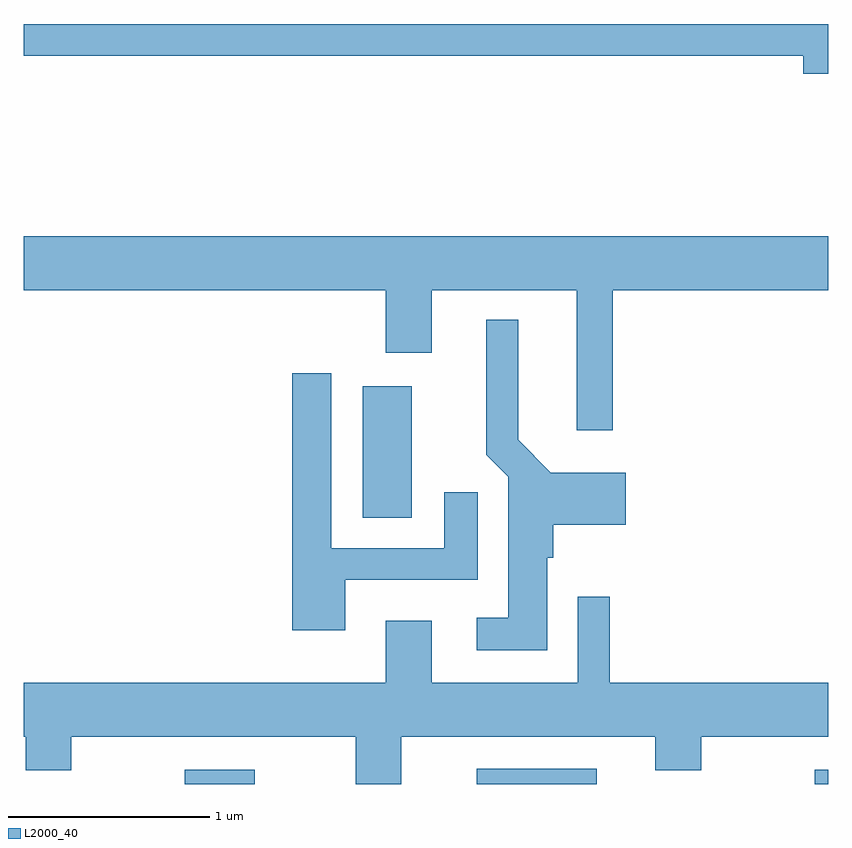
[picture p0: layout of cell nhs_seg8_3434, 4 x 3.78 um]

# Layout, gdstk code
import gdstk
lib = gdstk.Library(unit=1e-6, precision=1e-09)
def R(c, l, rs):  # rectangles x0, y0, x1, y1
    for r in rs: c.add(gdstk.rectangle(r[:2], r[2:], *l))
def P(c, l, *ps):  # polygons
    for p in ps: c.add(gdstk.Polygon(p, *l))
L2000_40 = (2000, 40)

nhs_seg8_3434 = lib.new_cell('nhs_seg8_3434')
R(nhs_seg8_3434, L2000_40, [(288.413,1898.342,288.759,1898.414), (289.863,1898.342,290.459,1898.419), (291.543,1898.342,291.611,1898.414), (289.296,1899.666,289.539,1900.319)])
P(nhs_seg8_3434, L2000_40, [(291.611,1902.119),(287.611,1902.119),(287.611,1901.961),(291.486,1901.961),(291.486,1901.871),(291.611,1901.871)],
  [(290.539,1900.796),(291.611,1900.796),(291.611,1901.064),(287.611,1901.064),(287.611,1900.796),(289.411,1900.796),(289.411,1900.486),(289.639,1900.486),(289.639,1900.796),(290.361,1900.796),(290.361,1900.101),(290.539,1900.101)],
  [(290.214,1899.466),(290.244,1899.466),(290.244,1899.631),(290.604,1899.631),(290.604,1899.889),(290.232,1899.889),(290.069,1900.052),(290.069,1900.648),(289.911,1900.648),(289.911,1899.979),(290.021,1899.869),(290.021,1899.169),(289.863,1899.169),(289.863,1899.006),(290.214,1899.006)],
  [(289.209,1899.356),(289.869,1899.356),(289.869,1899.793),(289.701,1899.793),(289.701,1899.514),(289.139,1899.514),(289.139,1900.384),(288.946,1900.384),(288.946,1899.106),(289.209,1899.106)],
  [(287.611,1898.576),(287.621,1898.576),(287.621,1898.411),(287.849,1898.411),(287.849,1898.576),(289.261,1898.576),(289.261,1898.342),(289.489,1898.342),(289.489,1898.576),(290.751,1898.576),(290.751,1898.411),(290.979,1898.411),(290.979,1898.576),(291.611,1898.576),(291.611,1898.844),(290.524,1898.844),(290.524,1899.273),(290.366,1899.273),(290.366,1898.844),(289.639,1898.844),(289.639,1899.154),(289.411,1899.154),(289.411,1898.844),(287.611,1898.844)])

lib.write_gds('nhs_seg8_3434.gds')
